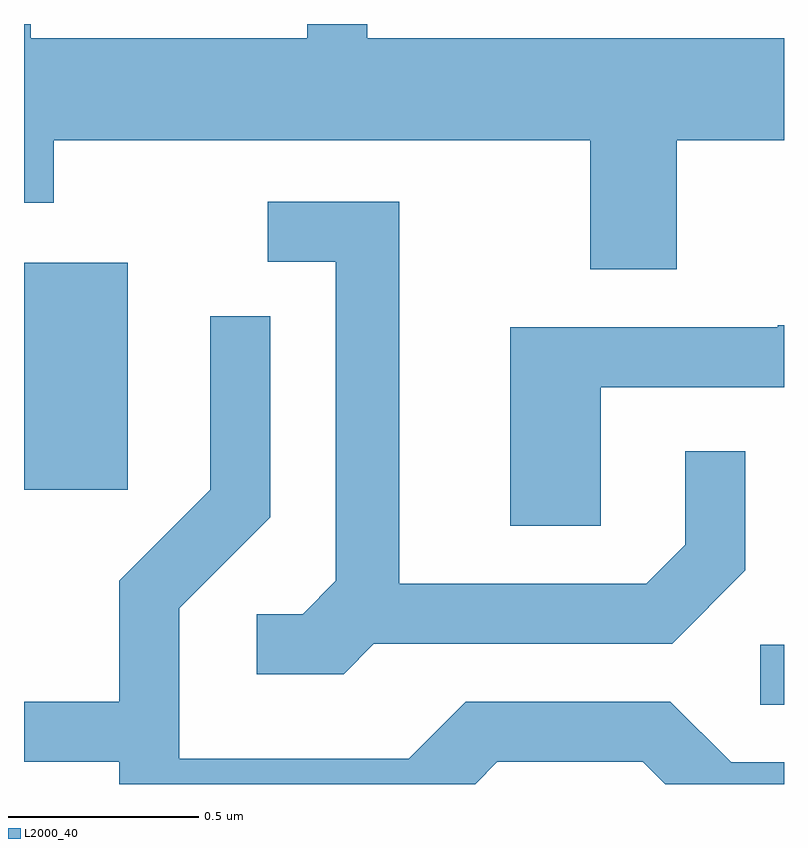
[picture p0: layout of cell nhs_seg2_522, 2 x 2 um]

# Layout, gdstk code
import gdstk
lib = gdstk.Library(unit=1e-6, precision=1e-09)
def R(c, l, rs):  # rectangles x0, y0, x1, y1
    for r in rs: c.add(gdstk.rectangle(r[:2], r[2:], *l))
def P(c, l, *ps):  # polygons
    for p in ps: c.add(gdstk.Polygon(p, *l))
L2000_40 = (2000, 40)

nhs_seg2_522 = lib.new_cell('nhs_seg2_522')
R(nhs_seg2_522, L2000_40, [(190.548,1089.011,190.611,1089.169), (188.611,1089.576,188.884,1090.174)])
P(nhs_seg2_522, L2000_40, [(190.329,1090.496),(190.611,1090.496),(190.611,1090.764),(189.514,1090.764),(189.514,1090.802),(189.356,1090.802),(189.356,1090.764),(188.629,1090.764),(188.629,1090.802),(188.611,1090.802),(188.611,1090.331),(188.689,1090.331),(188.689,1090.496),(190.101,1090.496),(190.101,1090.156),(190.329,1090.156)],
  [(189.532,1089.171),(190.317,1089.171),(190.509,1089.364),(190.509,1089.678),(190.351,1089.678),(190.351,1089.432),(190.249,1089.329),(189.599,1089.329),(189.599,1090.334),(189.253,1090.334),(189.253,1090.176),(189.431,1090.176),(189.431,1089.337),(189.344,1089.249),(189.223,1089.249),(189.223,1089.091),(189.452,1089.091)],
  [(189.857,1088.861),(190.239,1088.861),(190.298,1088.802),(190.611,1088.802),(190.611,1088.859),(190.472,1088.859),(190.312,1089.019),(189.774,1089.019),(189.624,1088.869),(189.019,1088.869),(189.019,1089.264),(189.259,1089.504),(189.259,1090.033),(189.101,1090.033),(189.101,1089.577),(188.861,1089.337),(188.861,1089.019),(188.611,1089.019),(188.611,1088.861),(188.861,1088.861),(188.861,1088.802),(189.798,1088.802)],
  [(190.129,1089.846),(190.611,1089.846),(190.611,1090.009),(190.595,1090.009),(190.595,1090.004),(189.891,1090.004),(189.891,1089.481),(190.129,1089.481)])

lib.write_gds('nhs_seg2_522.gds')
